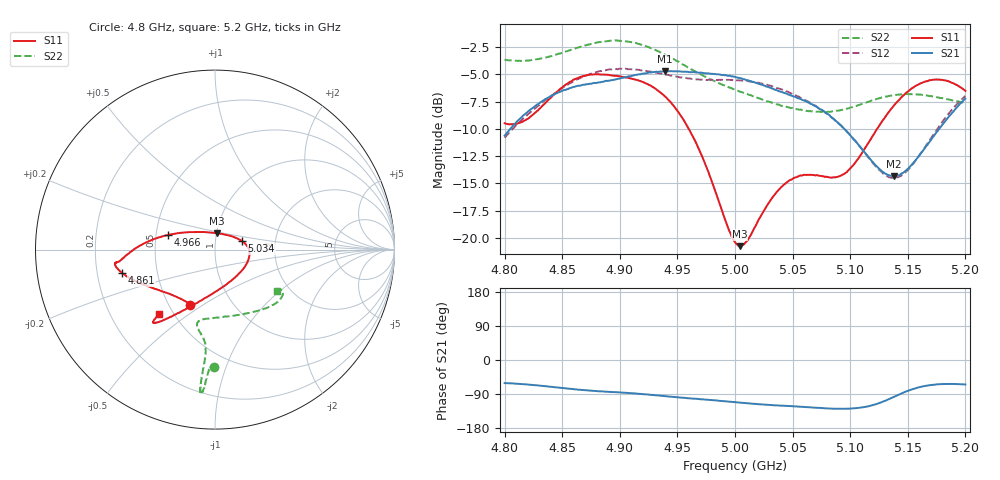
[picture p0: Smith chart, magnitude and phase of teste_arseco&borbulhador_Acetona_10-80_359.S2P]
! Network Analyzer HP8722D
! Hewlett-Packard
! Data name: Linha & Wilkinson
! Saver's name: Rodrigo Anjos
! Comments: Teste da utilização de aquisição
! continua pelo VNA HP8722D
! Time and date: 17/4/2025 17:21
!  Frequency  S11  S21  S12  S22
# HZ  S  MA R 50
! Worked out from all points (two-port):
!   401 points, 4.8 GHz to 5.2 GHz, reference 50 ohm
!   highest |S21| = -4.69 dB at 4.939 GHz (marker M1); lowest = -14.4 dB at 5.138 GHz (marker M2)
!   |S21| within 3 dB of the highest: 4.83 GHz to 5.065 GHz (235.9 MHz wide, 4.77 % of centre); 5.195413 GHz to end of sweep
!   lowest |S11| = -20.8 dB at 5.004 GHz (marker M3), VSWR 1.20, Z = 50 + j9.2 ohm
!   |S11| at or under -10 dB: 4.96 GHz to 5.123 GHz (163.5 MHz wide, 3.24 % of centre)
!   |S22| runs from -8.5 to -1.9 dB; largest |S21 - S12| = 0.87
!   S11 on the Smith chart (normalised r, x): 4.8 GHz: 0.64, -0.44; 4.861 GHz: 0.31, -0.11; 4.966 GHz: 0.58, +0.10; 5.034 GHz: 1.34, +0.13; 5.2 GHz: 0.42, -0.39
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4.8e9  0.3358 -114.1  0.2944 -60.9  0.2879 -175.2  0.6564 -90.3
4.819e9  0.3498 -134.0  0.3746 -64.4  0.3634 -174.0  0.6516 -91.9
4.861e9  0.5352 -165.9  0.4938 -77.4  0.5276 -177.3  0.7388 -94.1
4.867e9  0.55 -168.2  0.5019 -79.1  0.546 -178.3  0.7574 -94.3
4.899e9  0.5515 -172.6  0.5367 -85.6  0.5964 175.1  0.8025 -95.6
4.934e9  0.4708 -178.5  0.5785 -94.0  0.5696 171.5  0.715 -96.1
4.939e9  0.4465 179.4  0.5827 -95.1  0.5645 171.4  0.6945 -95.8
4.954e9  0.3567 171.3  0.5788 -99.4  0.5449 172.3  0.6286 -95.5
4.966e9  0.2744 162.6  0.5741 -102.4  0.5341 173.4  0.578 -95.2
5e9  0.09568 99.2  0.5466 -111.4  0.531 175.9  0.4781 -99.3
5.004e9  0.09158 84.6  0.542 -112.5  0.5275 175.8  0.4693 -100.0
5.012e9  0.09948 57.3  0.5261 -114.8  0.5222 175.6  0.453 -101.8
5.034e9  0.1569 18.0  0.4799 -119.4  0.492 174.6  0.4136 -103.2
5.05e9  0.1866 1.9  0.4471 -122.1  0.456 173.8  0.3939 -99.3
5.067e9  0.1944 -16.3  0.41 -125.2  0.4129 173.3  0.3807 -90.1
5.086e9  0.1896 -46.6  0.3503 -128.5  0.3492 173.4  0.3817 -75.8
5.097e9  0.2001 -68.8  0.308 -128.7  0.3083 174.8  0.3913 -66.9
5.134e9  0.3806 -117.4  0.1936 -102.7  0.1896 -155.7  0.4482 -43.0
5.138e9  0.4051 -119.6  0.1916 -97.2  0.1883 -149.4  0.4513 -41.3
5.151e9  0.4734 -125.3  0.2096 -80.4  0.2073 -129.7  0.4567 -36.5
5.17e9  0.5293 -129.5  0.2805 -66.1  0.2863 -112.2  0.4473 -32.2
5.2e9  0.4722 -131.0  0.4352 -64.8  0.448 -106.8  0.415 -33.5
